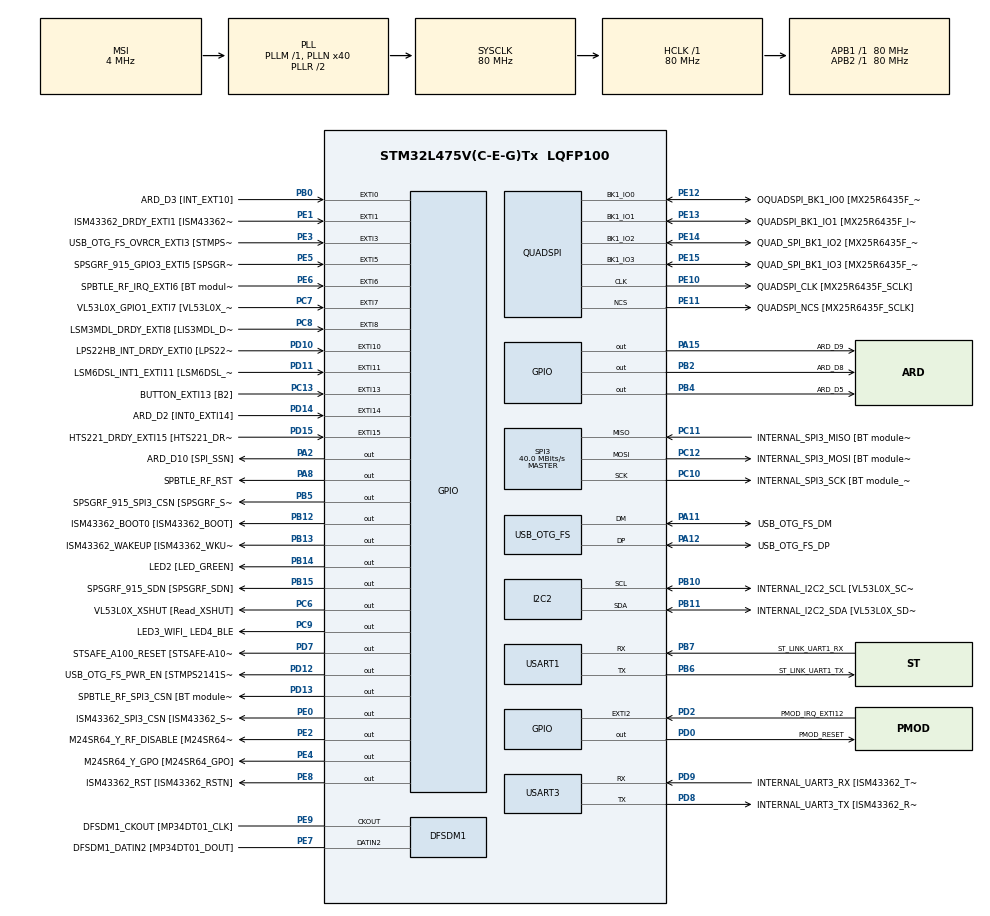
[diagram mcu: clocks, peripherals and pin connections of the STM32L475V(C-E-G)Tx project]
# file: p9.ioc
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FREERTOS.Tasks01=WifiTask,24,512,StartWifiTask,Default,NULL,Dynamic,NULL,NULL
FREERTOS.configTOTAL_HEAP_SIZE=5000
FREERTOS.configUSE_NEWLIB_REENTRANT=1
Mcu.Family=STM32L4
Mcu.Name=STM32L475V(C-E-G)Tx
Mcu.Package=LQFP100
NVIC.EXTI15_10_IRQn=true\:5\:0\:false\:false\:true\:true\:true\:true\:true
NVIC.EXTI1_IRQn=true\:5\:0\:true\:false\:true\:false\:true\:true\:true
NVIC.EXTI9_5_IRQn=true\:5\:0\:false\:false\:true\:true\:true\:true\:true
NVIC.PriorityGroup=NVIC_PRIORITYGROUP_4
NVIC.SPI3_IRQn=true\:5\:0\:true\:false\:false\:false\:true\:true\:true
NVIC.TIM6_DAC_IRQn=true\:15\:0\:false\:false\:true\:false\:false\:true\:true
NVIC.TimeBase=TIM6_DAC_IRQn
NVIC.TimeBaseIP=TIM6
PA0.GPIO_Label=ARD_D1 [UART4_TX]
PA0.Signal=UART4_TX
PA1.GPIO_Label=ARD_D0 [UART4_RX]
PA1.Signal=UART4_RX
PA10.GPIO_Label=USB_OTG_FS_ID
PA10.Signal=USB_OTG_FS_ID
PA11.GPIO_Label=USB_OTG_FS_DM
PA11.Mode=Device_Only
PA11.Signal=USB_OTG_FS_DM
PA12.GPIO_Label=USB_OTG_FS_DP
PA12.Mode=Device_Only
PA12.Signal=USB_OTG_FS_DP
PA13\ (JTMS-SWDIO).GPIO_Label=SYS_JTMS_SWDIO
PA13\ (JTMS-SWDIO).Mode=Trace_Asynchronous_SW
PA13\ (JTMS-SWDIO).Signal=SYS_JTMS-SWDIO
PA14\ (JTCK-SWCLK).GPIO_Label=SYS_JTCK_SWCLK
PA14\ (JTCK-SWCLK).Mode=Trace_Asynchronous_SW
PA14\ (JTCK-SWCLK).Signal=SYS_JTCK-SWCLK
PA15\ (JTDI).GPIO_Label=ARD_D9
PA15\ (JTDI).Signal=GPIO_Output
PA2.GPIO_Label=ARD_D10 [SPI_SSN]
PA2.Signal=GPIO_Output
PA3.GPIO_Label=ARD_D4
PA3.Signal=S_TIM2_CH4
PA4.GPIO_Label=ARD_D7
PA4.Signal=ADCx_IN9
PA5.GPIO_Label=ARD_D13 [SPI1_SCK]
PA5.Signal=SPI1_SCK
PA6.GPIO_Label=ARD_D12 [SPI1_MISO]
PA6.Signal=SPI1_MISO
PA7.GPIO_Label=ARD_D11 [SPI1_MOSI]
PA7.Signal=SPI1_MOSI
PA8.GPIO_Label=SPBTLE_RF_RST
PA8.Signal=GPIO_Output
PA9.GPIO_Label=USB_OTG_FS_VBUS [STMPS2141STR_OUT]
PA9.Signal=USB_OTG_FS_VBUS
PB0.GPIO_Label=ARD_D3 [INT_EXT10]
PB0.Signal=GPXTI0
PB1.GPIO_Label=ARD_D6 [ADC1_IN6]
PB1.Signal=ADCx_IN16
PB10.GPIO_Label=INTERNAL_I2C2_SCL [VL53L0X_SCL]
PB10.GPIO_Pu=GPIO_PULLUP
PB10.Mode=I2C
PB10.Signal=I2C2_SCL
PB11.GPIO_Label=INTERNAL_I2C2_SDA [VL53L0X_SDA]
PB11.GPIO_Pu=GPIO_PULLUP
PB11.Mode=I2C
PB11.Signal=I2C2_SDA
PB12.GPIO_Label=ISM43362_BOOT0 [ISM43362_BOOT]
PB12.Signal=GPIO_Output
PB13.GPIO_Label=ISM43362_WAKEUP [ISM43362_WKUP]
PB13.Signal=GPIO_Output
PB14.GPIO_Label=LED2 [LED_GREEN]
PB14.Signal=GPIO_Output
PB15.GPIO_Label=SPSGRF_915_SDN [SPSGRF_SDN]
PB15.Signal=GPIO_Output
PB2.GPIO_Label=ARD_D8
PB2.Signal=GPIO_Output
PB3\ (JTDO-TRACESWO).GPIO_Label=SYS_JTD0_SWO
PB3\ (JTDO-TRACESWO).Mode=Trace_Asynchronous_SW
PB3\ (JTDO-TRACESWO).Signal=SYS_JTDO-SWO
PB4\ (NJTRST).GPIO_Label=ARD_D5
PB4\ (NJTRST).Signal=GPIO_Output
PB5.GPIO_Label=SPSGRF_915_SPI3_CSN [SPSGRF_SPI_CS]
PB5.PinState=GPIO_PIN_SET
PB5.Signal=GPIO_Output
PB6.GPIO_Label=ST_LINK_UART1_TX
PB6.Mode=Asynchronous
PB6.Signal=USART1_TX
PB7.GPIO_Label=ST_LINK_UART1_RX
PB7.Mode=Asynchronous
PB7.Signal=USART1_RX
PB8.GPIO_Label=ARD_D15 [I2C1_SCL]
PB8.Signal=I2C1_SCL
PB9.GPIO_Label=ARD_D14 [I2C1_SDA]
PB9.Signal=I2C1_SDA
PC0.GPIO_Label=ARD_A5 [ADC]
PC0.Signal=ADCx_IN1
PC1.GPIO_Label=ARD_A4 [ADC]
PC1.Signal=ADCx_IN2
PC10.GPIO_Label=INTERNAL_SPI3_SCK [BT module_SPI_SCLK] [ISM43362_SCK]
PC10.Mode=Full_Duplex_Master
PC10.Signal=SPI3_SCK
PC11.GPIO_Label=INTERNAL_SPI3_MISO [BT module_SPI_MISO] [ISM43362_MISO]
PC11.Mode=Full_Duplex_Master
PC11.Signal=SPI3_MISO
PC12.GPIO_Label=INTERNAL_SPI3_MOSI [BT module_SPI_MOSI] [ISM43362_MOSI]
PC12.Mode=Full_Duplex_Master
PC12.Signal=SPI3_MOSI
PC13.GPIO_Label=BUTTON_EXTI13 [B2]
PC13.GPIO_ModeDefaultEXTI=GPIO_MODE_IT_FALLING
PC13.Signal=GPXTI13
PC14-OSC32_IN\ (PC14).Mode=LSE-External-Oscillator
PC14-OSC32_IN\ (PC14).Signal=RCC_OSC32_IN
PC15-OSC32_OUT\ (PC15).Mode=LSE-External-Oscillator
PC15-OSC32_OUT\ (PC15).Signal=RCC_OSC32_OUT
PC2.GPIO_Label=ARD_A3 [ADC]
PC2.Signal=ADCx_IN3
PC3.GPIO_Label=ARD_A2 [ADC]
PC3.Signal=ADCx_IN4
PC4.GPIO_Label=ARD_A1 [ADC]
PC4.Signal=ADCx_IN13
PC5.GPIO_Label=ARD_A0 [ADC]
PC5.Signal=ADCx_IN14
PC6.GPIO_Label=VL53L0X_XSHUT [Read_XSHUT]
PC6.Signal=GPIO_Output
PC7.GPIO_Label=VL53L0X_GPIO1_EXTI7 [VL53L0X_GPIO1]
PC7.Signal=GPXTI7
PC8.GPIO_Label=LSM3MDL_DRDY_EXTI8 [LIS3MDL_DRDY]
PC8.Signal=GPXTI8
PC9.GPIO_Label=LED3_WIFI_ LED4_BLE
PC9.Signal=GPIO_Output
PD0.GPIO_Label=PMOD_RESET
PD0.Signal=GPIO_Output
PD1.GPIO_Label=PMOD_SPI2_SCK
PD1.Signal=SPI2_SCK
PD10.GPIO_Label=LPS22HB_INT_DRDY_EXTI0 [LPS22HB_INT_DRDY] 
PD10.Signal=GPXTI10
PD11.GPIO_Label=LSM6DSL_INT1_EXTI11 [LSM6DSL_INT1]
PD11.Signal=GPXTI11
PD12.GPIO_Label=USB_OTG_FS_PWR_EN [STMPS2141STR_EN]
PD12.Signal=GPIO_Output
PD13.GPIO_Label=SPBTLE_RF_SPI3_CSN [BT module_SPI_CS]
PD13.PinState=GPIO_PIN_SET
PD13.Signal=GPIO_Output
PD14.GPIO_Label=ARD_D2 [INT0_EXTI14]
PD14.Signal=GPXTI14
PD15.GPIO_Label=HTS221_DRDY_EXTI15 [HTS221_DRDY]
PD15.Signal=GPXTI15
PD2.GPIO_Label=PMOD_IRQ_EXTI12
PD2.Signal=GPXTI2
PD3.GPIO_Label=PMOD_UART2_CTS
PD3.Signal=USART2_CTS
PD4.GPIO_Label=PMOD_UART2_RTS
PD4.Signal=USART2_RTS
PD5.GPIO_Label=PMOD_UART2_TX
PD5.Signal=USART2_TX
PD6.GPIO_Label=PMOD_UART2_RX
PD6.Signal=USART2_RX
PD7.GPIO_Label=STSAFE_A100_RESET [STSAFE-A100_RESET]
PD7.Signal=GPIO_Output
PD8.GPIO_Label=INTERNAL_UART3_TX [ISM43362_RX]
PD8.Mode=Asynchronous
PD8.Signal=USART3_TX
PD9.GPIO_Label=INTERNAL_UART3_RX [ISM43362_TX]
PD9.Mode=Asynchronous
PD9.Signal=USART3_RX
PE0.GPIO_Label=ISM43362_SPI3_CSN [ISM43362_SSN]
PE0.PinState=GPIO_PIN_SET
PE0.Signal=GPIO_Output
PE1.GPIO_Label=ISM43362_DRDY_EXTI1 [ISM43362_DATARDY]
PE1.Signal=GPXTI1
PE10.GPIO_Label=QUADSPI_CLK [MX25R6435F_SCLK]
PE10.Mode=Single Bank
PE10.Signal=QUADSPI_CLK
PE11.GPIO_Label=QUADSPI_NCS [MX25R6435F_SCLK]
PE11.Mode=Single Bank
PE11.Signal=QUADSPI_NCS
PE12.GPIO_Label=OQUADSPI_BK1_IO0 [MX25R6435F_IO0]
PE12.Mode=Single Bank
PE12.Signal=QUADSPI_BK1_IO0
PE13.GPIO_Label=QUADSPI_BK1_IO1 [MX25R6435F_IO1]
PE13.Mode=Single Bank
PE13.Signal=QUADSPI_BK1_IO1
PE14.GPIO_Label=QUAD_SPI_BK1_IO2 [MX25R6435F_IO2]
PE14.Mode=Single Bank
PE14.Signal=QUADSPI_BK1_IO2
PE15.GPIO_Label=QUAD_SPI_BK1_IO3 [MX25R6435F_IO3]
PE15.Mode=Single Bank
PE15.Signal=QUADSPI_BK1_IO3
PE2.GPIO_Label=M24SR64_Y_RF_DISABLE [M24SR64_RFDIS]
PE2.Signal=GPIO_Output
PE3.GPIO_Label=USB_OTG_FS_OVRCR_EXTI3 [STMPS2141STR_FAULT]
PE3.Signal=GPXTI3
PE4.GPIO_Label=M24SR64_Y_GPO [M24SR64_GPO]
PE4.Signal=GPIO_Output
PE5.GPIO_Label=SPSGRF_915_GPIO3_EXTI5 [SPSGRF_GPIO_3]
PE5.Signal=GPXTI5
PE6.GPIO_Label=SPBTLE_RF_IRQ_EXTI6 [BT module_SPI_IRQ]
PE6.Signal=GPXTI6
PE7.GPIO_Label=DFSDM1_DATIN2 [MP34DT01_DOUT]
PE7.Signal=S_DATAIN2DFSDM1
PE8.GPIO_Label=ISM43362_RST [ISM43362_RSTN]
PE8.Signal=GPIO_Output
PE9.GPIO_Label=DFSDM1_CKOUT [MP34DT01_CLK]
PE9.Signal=S_CKOUTDFSDM1
ProjectManager.HeapSize=0x200
ProjectManager.StackSize=0x400
ProjectManager.TargetToolchain=STM32CubeIDE
QUADSPI.ClockPrescaler=2
QUADSPI.FifoThreshold=4
QUADSPI.FlashSize=23
QUADSPI.SampleShifting=QSPI_SAMPLE_SHIFTING_HALFCYCLE
RCC.ADCFreq_Value=48000000
RCC.AHBFreq_Value=80000000
RCC.APB1Freq_Value=80000000
RCC.APB1TimFreq_Value=80000000
RCC.APB2Freq_Value=80000000
RCC.APB2TimFreq_Value=80000000
RCC.CortexFreq_Value=80000000
RCC.HCLKFreq_Value=80000000
RCC.HSE_VALUE=8000000
RCC.HSI_VALUE=16000000
RCC.MSI_VALUE=4000000
RCC.PLLN=40
RCC.PLLSAI1N=24
RCC.SYSCLKFreq_VALUE=80000000
RCC.SYSCLKSource=RCC_SYSCLKSOURCE_PLLCLK
RCC.USBFreq_Value=48000000
RCC.VCOOutputFreq_Value=160000000
SH.ADCx_IN1.0=ADC1_IN1
SH.ADCx_IN13.0=ADC1_IN13
SH.ADCx_IN14.0=ADC1_IN14
SH.ADCx_IN16.0=ADC1_IN16
SH.ADCx_IN2.0=ADC1_IN2
SH.ADCx_IN3.0=ADC1_IN3
SH.ADCx_IN4.0=ADC1_IN4
SH.ADCx_IN9.0=ADC1_IN9
SH.S_CKOUTDFSDM1.0=DFSDM1_CKOUT,CKOUT
SH.S_CKOUTDFSDM1.1=DFSDM1_CKOUT,PDM_SPI_Input_from_ch12_and_Internal_Clock
SH.S_DATAIN2DFSDM1.0=DFSDM1_DATIN2,PDM_SPI_Input_from_ch12_and_Internal_Clock
SH.S_TIM2_CH4.0=TIM2_CH4
SPI3.CalculateBaudRate=40.0 MBits/s
SPI3.Direction=SPI_DIRECTION_2LINES
SPI3.Mode=SPI_MODE_MASTER
SPI3.VirtualType=VM_MASTER
USART1.VirtualMode-Asynchronous=VM_ASYNC
USART3.VirtualMode-Asynchronous=VM_ASYNC
USB_OTG_FS.VirtualMode=Device_Only
VP_FREERTOS_VS_CMSIS_V2.Mode=CMSIS_V2
VP_SYS_VS_tim6.Mode=TIM6
board=B-L475E-IOT01A1

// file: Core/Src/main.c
/* USER CODE BEGIN Header */
/**
  ******************************************************************************
  * @file           : main.c
  * @brief          : Main program body
  ******************************************************************************
  * @attention
  *
  * Copyright (c) 2026 STMicroelectronics.
  * All rights reserved.
  *
  * This software is licensed under terms that can be found in the LICENSE file
  * in the root directory of this software component.
  * If no LICENSE file comes with this software, it is provided AS-IS.
  *
  ******************************************************************************
  */
/* USER CODE END Header */
#include "main.h"
#include "cmsis_os.h"

/* USER CODE BEGIN Includes */
#include "es_wifi.h"
#include "wifi.h"
#include "stm32l4xx_hal_uart.h"
#include "stdio.h"
//#include "stm32l475e_iot01.h"
//#include "stm32l475e_iot01_tsensor.h"

/* USER CODE END Includes */

DFSDM_Channel_HandleTypeDef hdfsdm1_channel1;

I2C_HandleTypeDef hi2c2;

QSPI_HandleTypeDef hqspi;

SPI_HandleTypeDef hspi3;

UART_HandleTypeDef huart1;
UART_HandleTypeDef huart3;

PCD_HandleTypeDef hpcd_USB_OTG_FS;

/* Definitions for WifiTask */
osThreadId_t WifiTaskHandle;
const osThreadAttr_t WifiTask_attributes = {
  .name = "WifiTask",
  .stack_size = 512 * 4,
  .priority = (osPriority_t) osPriorityNormal,
};
/* USER CODE BEGIN PV */

#define SSID     "Manolo"
#define PASSWORD ""
#define WIFISECURITY WIFI_ECN_OPEN

#define PORT 	80
#define WIFI_WRITE_TIMEOUT 10000
#define WIFI_READ_TIMEOUT 10000
#define SOCKET 	0
#define LOG(a) printf a

/*#define TERMINAL_USE
#ifdef  TERMINAL_USE
#else
#define LOG(a)
#endif*/

/* USER CODE END PV */

void SystemClock_Config(void);
static void MX_GPIO_Init(void);
static void MX_DFSDM1_Init(void);
static void MX_I2C2_Init(void);
static void MX_QUADSPI_Init(void);
static void MX_SPI3_Init(void);
static void MX_USART1_UART_Init(void);
static void MX_USART3_UART_Init(void);
static void MX_USB_OTG_FS_PCD_Init(void);
void StartWifiTask(void *argument);

/* USER CODE BEGIN PFP */
extern  SPI_HandleTypeDef hspi;
static  uint8_t  IP_Addr[4];
#if defined (TERMINAL_USE)
extern UART_HandleTypeDef hDiscoUart;
#endif /* TERMINAL_USE */

static  uint8_t http[1024];
static  uint8_t  IP_Addr[4];
static  int     LedState = 0;
extern ES_WIFIObject_t    EsWifiObj;

/* USER CODE END PFP */

/* USER CODE BEGIN 0 */

static int wifi_start(void)
{
  uint8_t  MAC_Addr[6];

 /*Initialize and use WIFI module */
  if(WIFI_Init() ==  WIFI_STATUS_OK)
  {
    LOG(("ES-WIFI Initialized.\r\n"));
    if(WIFI_GetMAC_Address(MAC_Addr) == WIFI_STATUS_OK)
    {
      LOG(("> eS-WiFi module MAC Address : %02X:%02X:%02X:%02X:%02X:%02X\r\n",
               MAC_Addr[0],
               MAC_Addr[1],
               MAC_Addr[2],
               MAC_Addr[3],
               MAC_Addr[4],
               MAC_Addr[5]));
    }
    else
    {
      LOG(("> ERROR : CANNOT get MAC address\r\n"));
      return -1;
    }
  }
  else
  {
    return -1;
  }
  return 0;
}

int wifi_connect(void)
{

  wifi_start();

  LOG(("\nConnecting to %s, %s\r\n",SSID,PASSWORD));
  if( WIFI_Connect(SSID, PASSWORD, WIFISECURITY) == WIFI_STATUS_OK)
  {
    if(WIFI_GetIP_Address(IP_Addr) == WIFI_STATUS_OK)
    {
      LOG(("> es-wifi module connected: got IP Address : %d.%d.%d.%d\r\n",
               IP_Addr[0],
               IP_Addr[1],
               IP_Addr[2],
               IP_Addr[3]));
    }
    else
    {
		  LOG((" ERROR : es-wifi module CANNOT get IP address\r\n"));
      return -1;
    }
  }
  else
  {
		 LOG(("ERROR : es-wifi module NOT connected\r\n"));
     return -1;
  }
  return 0;
}
/* USER CODE END 0 */

int main(void)
{

  /* MCU Configuration--------------------------------------------------------*/

  /* Reset of all peripherals, Initializes the Flash interface and the Systick. */
  HAL_Init();

  /* Configure the system clock */
  SystemClock_Config();

  /* Initialize all configured peripherals */
  MX_GPIO_Init();
  MX_DFSDM1_Init();
  MX_I2C2_Init();
  MX_QUADSPI_Init();
  MX_SPI3_Init();
  MX_USART1_UART_Init();
  MX_USART3_UART_Init();
  MX_USB_OTG_FS_PCD_Init();

  /* Init scheduler */
  osKernelInitialize();

  /* Create the thread(s) */
  /* creation of WifiTask */
  WifiTaskHandle = osThreadNew(StartWifiTask, NULL, &WifiTask_attributes);

  /* Start scheduler */
  osKernelStart();

  /* We should never get here as control is now taken by the scheduler */

  /* Infinite loop */
  while (1)
  {

  }
}

void SystemClock_Config(void)
{
  RCC_OscInitTypeDef RCC_OscInitStruct = {0};
  RCC_ClkInitTypeDef RCC_ClkInitStruct = {0};

  /** Configure the main internal regulator output voltage
  */
  if (HAL_PWREx_ControlVoltageScaling(PWR_REGULATOR_VOLTAGE_SCALE1) != HAL_OK)
  {
    Error_Handler();
  }

  /** Configure LSE Drive Capability
  */
  HAL_PWR_EnableBkUpAccess();
  __HAL_RCC_LSEDRIVE_CONFIG(RCC_LSEDRIVE_LOW);

  /** Initializes the RCC Oscillators according to the specified parameters
  * in the RCC_OscInitTypeDef structure.
  */
  RCC_OscInitStruct.OscillatorType = RCC_OSCILLATORTYPE_LSE|RCC_OSCILLATORTYPE_MSI;
  RCC_OscInitStruct.LSEState = RCC_LSE_ON;
  RCC_OscInitStruct.MSIState = RCC_MSI_ON;
  RCC_OscInitStruct.MSICalibrationValue = 0;
  RCC_OscInitStruct.MSIClockRange = RCC_MSIRANGE_6;
  RCC_OscInitStruct.PLL.PLLState = RCC_PLL_ON;
  RCC_OscInitStruct.PLL.PLLSource = RCC_PLLSOURCE_MSI;
  RCC_OscInitStruct.PLL.PLLM = 1;
  RCC_OscInitStruct.PLL.PLLN = 40;
  RCC_OscInitStruct.PLL.PLLP = RCC_PLLP_DIV7;
  RCC_OscInitStruct.PLL.PLLQ = RCC_PLLQ_DIV2;
  RCC_OscInitStruct.PLL.PLLR = RCC_PLLR_DIV2;
  if (HAL_RCC_OscConfig(&RCC_OscInitStruct) != HAL_OK)
  {
    Error_Handler();
  }

  /** Initializes the CPU, AHB and APB buses clocks
  */
  RCC_ClkInitStruct.ClockType = RCC_CLOCKTYPE_HCLK|RCC_CLOCKTYPE_SYSCLK
                              |RCC_CLOCKTYPE_PCLK1|RCC_CLOCKTYPE_PCLK2;
  RCC_ClkInitStruct.SYSCLKSource = RCC_SYSCLKSOURCE_PLLCLK;
  RCC_ClkInitStruct.AHBCLKDivider = RCC_SYSCLK_DIV1;
  RCC_ClkInitStruct.APB1CLKDivider = RCC_HCLK_DIV1;
  RCC_ClkInitStruct.APB2CLKDivider = RCC_HCLK_DIV1;

  if (HAL_RCC_ClockConfig(&RCC_ClkInitStruct, FLASH_LATENCY_4) != HAL_OK)
  {
    Error_Handler();
  }

  /** Enable MSI Auto calibration
  */
  HAL_RCCEx_EnableMSIPLLMode();
}

static void MX_DFSDM1_Init(void)
{

  hdfsdm1_channel1.Instance = DFSDM1_Channel1;
  hdfsdm1_channel1.Init.OutputClock.Activation = ENABLE;
  hdfsdm1_channel1.Init.OutputClock.Selection = DFSDM_CHANNEL_OUTPUT_CLOCK_SYSTEM;
  hdfsdm1_channel1.Init.OutputClock.Divider = 2;
  hdfsdm1_channel1.Init.Input.Multiplexer = DFSDM_CHANNEL_EXTERNAL_INPUTS;
  hdfsdm1_channel1.Init.Input.DataPacking = DFSDM_CHANNEL_STANDARD_MODE;
  hdfsdm1_channel1.Init.Input.Pins = DFSDM_CHANNEL_FOLLOWING_CHANNEL_PINS;
  hdfsdm1_channel1.Init.SerialInterface.Type = DFSDM_CHANNEL_SPI_RISING;
  hdfsdm1_channel1.Init.SerialInterface.SpiClock = DFSDM_CHANNEL_SPI_CLOCK_INTERNAL;
  hdfsdm1_channel1.Init.Awd.FilterOrder = DFSDM_CHANNEL_FASTSINC_ORDER;
  hdfsdm1_channel1.Init.Awd.Oversampling = 1;
  hdfsdm1_channel1.Init.Offset = 0;
  hdfsdm1_channel1.Init.RightBitShift = 0x00;
  if (HAL_DFSDM_ChannelInit(&hdfsdm1_channel1) != HAL_OK)
  {
    Error_Handler();
  }

}

static void MX_I2C2_Init(void)
{

  hi2c2.Instance = I2C2;
  hi2c2.Init.Timing = 0x00000E14;
  hi2c2.Init.OwnAddress1 = 0;
  hi2c2.Init.AddressingMode = I2C_ADDRESSINGMODE_7BIT;
  hi2c2.Init.DualAddressMode = I2C_DUALADDRESS_DISABLE;
  hi2c2.Init.OwnAddress2 = 0;
  hi2c2.Init.OwnAddress2Masks = I2C_OA2_NOMASK;
  hi2c2.Init.GeneralCallMode = I2C_GENERALCALL_DISABLE;
  hi2c2.Init.NoStretchMode = I2C_NOSTRETCH_DISABLE;
  if (HAL_I2C_Init(&hi2c2) != HAL_OK)
  {
    Error_Handler();
  }

  /** Configure Analogue filter
  */
  if (HAL_I2CEx_ConfigAnalogFilter(&hi2c2, I2C_ANALOGFILTER_ENABLE) != HAL_OK)
  {
    Error_Handler();
  }

  /** Configure Digital filter
  */
  if (HAL_I2CEx_ConfigDigitalFilter(&hi2c2, 0) != HAL_OK)
  {
    Error_Handler();
  }

}

static void MX_QUADSPI_Init(void)
{

  /* QUADSPI parameter configuration*/
  hqspi.Instance = QUADSPI;
  hqspi.Init.ClockPrescaler = 2;
  hqspi.Init.FifoThreshold = 4;
  hqspi.Init.SampleShifting = QSPI_SAMPLE_SHIFTING_HALFCYCLE;
  hqspi.Init.FlashSize = 23;
  hqspi.Init.ChipSelectHighTime = QSPI_CS_HIGH_TIME_1_CYCLE;
  hqspi.Init.ClockMode = QSPI_CLOCK_MODE_0;
  if (HAL_QSPI_Init(&hqspi) != HAL_OK)
  {
    Error_Handler();
  }

}

static void MX_SPI3_Init(void)
{

  /* SPI3 parameter configuration*/
  hspi3.Instance = SPI3;
  hspi3.Init.Mode = SPI_MODE_MASTER;
  hspi3.Init.Direction = SPI_DIRECTION_2LINES;
  hspi3.Init.DataSize = SPI_DATASIZE_4BIT;
  hspi3.Init.CLKPolarity = SPI_POLARITY_LOW;
  hspi3.Init.CLKPhase = SPI_PHASE_1EDGE;
  hspi3.Init.NSS = SPI_NSS_SOFT;
  hspi3.Init.BaudRatePrescaler = SPI_BAUDRATEPRESCALER_2;
  hspi3.Init.FirstBit = SPI_FIRSTBIT_MSB;
  hspi3.Init.TIMode = SPI_TIMODE_DISABLE;
  hspi3.Init.CRCCalculation = SPI_CRCCALCULATION_DISABLE;
  hspi3.Init.CRCPolynomial = 7;
  hspi3.Init.CRCLength = SPI_CRC_LENGTH_DATASIZE;
  hspi3.Init.NSSPMode = SPI_NSS_PULSE_ENABLE;
  if (HAL_SPI_Init(&hspi3) != HAL_OK)
  {
    Error_Handler();
  }

}

static void MX_USART1_UART_Init(void)
{

  huart1.Instance = USART1;
  huart1.Init.BaudRate = 115200;
  huart1.Init.WordLength = UART_WORDLENGTH_8B;
  huart1.Init.StopBits = UART_STOPBITS_1;
  huart1.Init.Parity = UART_PARITY_NONE;
  huart1.Init.Mode = UART_MODE_TX_RX;
  huart1.Init.HwFlowCtl = UART_HWCONTROL_NONE;
  huart1.Init.OverSampling = UART_OVERSAMPLING_16;
  huart1.Init.OneBitSampling = UART_ONE_BIT_SAMPLE_DISABLE;
  huart1.AdvancedInit.AdvFeatureInit = UART_ADVFEATURE_NO_INIT;
  if (HAL_UART_Init(&huart1) != HAL_OK)
  {
    Error_Handler();
  }

}

static void MX_USART3_UART_Init(void)
{

  huart3.Instance = USART3;
  huart3.Init.BaudRate = 115200;
  huart3.Init.WordLength = UART_WORDLENGTH_8B;
  huart3.Init.StopBits = UART_STOPBITS_1;
  huart3.Init.Parity = UART_PARITY_NONE;
  huart3.Init.Mode = UART_MODE_TX_RX;
  huart3.Init.HwFlowCtl = UART_HWCONTROL_NONE;
  huart3.Init.OverSampling = UART_OVERSAMPLING_16;
  huart3.Init.OneBitSampling = UART_ONE_BIT_SAMPLE_DISABLE;
  huart3.AdvancedInit.AdvFeatureInit = UART_ADVFEATURE_NO_INIT;
  if (HAL_UART_Init(&huart3) != HAL_OK)
  {
    Error_Handler();
  }

}

static void MX_USB_OTG_FS_PCD_Init(void)
{

  hpcd_USB_OTG_FS.Instance = USB_OTG_FS;
  hpcd_USB_OTG_FS.Init.dev_endpoints = 6;
  hpcd_USB_OTG_FS.Init.speed = PCD_SPEED_FULL;
  hpcd_USB_OTG_FS.Init.phy_itface = PCD_PHY_EMBEDDED;
  hpcd_USB_OTG_FS.Init.Sof_enable = DISABLE;
  hpcd_USB_OTG_FS.Init.low_power_enable = DISABLE;
  hpcd_USB_OTG_FS.Init.lpm_enable = DISABLE;
  hpcd_USB_OTG_FS.Init.battery_charging_enable = DISABLE;
  hpcd_USB_OTG_FS.Init.use_dedicated_ep1 = DISABLE;
  hpcd_USB_OTG_FS.Init.vbus_sensing_enable = DISABLE;
  if (HAL_PCD_Init(&hpcd_USB_OTG_FS) != HAL_OK)
  {
    Error_Handler();
  }

}

static void MX_GPIO_Init(void)
{
  GPIO_InitTypeDef GPIO_InitStruct = {0};

  /* GPIO Ports Clock Enable */
  __HAL_RCC_GPIOE_CLK_ENABLE();
  __HAL_RCC_GPIOC_CLK_ENABLE();
  __HAL_RCC_GPIOA_CLK_ENABLE();
  __HAL_RCC_GPIOB_CLK_ENABLE();
  __HAL_RCC_GPIOD_CLK_ENABLE();

  /*Configure GPIO pin Output Level */
  HAL_GPIO_WritePin(GPIOE, M24SR64_Y_RF_DISABLE_Pin|M24SR64_Y_GPO_Pin|ISM43362_RST_Pin, GPIO_PIN_RESET);

  /*Configure GPIO pin Output Level */
  HAL_GPIO_WritePin(GPIOA, ARD_D10_Pin|SPBTLE_RF_RST_Pin|ARD_D9_Pin, GPIO_PIN_RESET);

  /*Configure GPIO pin Output Level */
  HAL_GPIO_WritePin(GPIOB, ARD_D8_Pin|ISM43362_BOOT0_Pin|ISM43362_WAKEUP_Pin|LED2_Pin
                          |SPSGRF_915_SDN_Pin|ARD_D5_Pin, GPIO_PIN_RESET);

  /*Configure GPIO pin Output Level */
  HAL_GPIO_WritePin(GPIOD, USB_OTG_FS_PWR_EN_Pin|PMOD_RESET_Pin|STSAFE_A100_RESET_Pin, GPIO_PIN_RESET);

  /*Configure GPIO pin Output Level */
  HAL_GPIO_WritePin(SPBTLE_RF_SPI3_CSN_GPIO_Port, SPBTLE_RF_SPI3_CSN_Pin, GPIO_PIN_SET);

  /*Configure GPIO pin Output Level */
  HAL_GPIO_WritePin(GPIOC, VL53L0X_XSHUT_Pin|LED3_WIFI__LED4_BLE_Pin, GPIO_PIN_RESET);

  /*Configure GPIO pin Output Level */
  HAL_GPIO_WritePin(SPSGRF_915_SPI3_CSN_GPIO_Port, SPSGRF_915_SPI3_CSN_Pin, GPIO_PIN_SET);

  /*Configure GPIO pin Output Level */
  HAL_GPIO_WritePin(ISM43362_SPI3_CSN_GPIO_Port, ISM43362_SPI3_CSN_Pin, GPIO_PIN_SET);

  /*Configure GPIO pins : M24SR64_Y_RF_DISABLE_Pin M24SR64_Y_GPO_Pin ISM43362_RST_Pin ISM43362_SPI3_CSN_Pin */
  GPIO_InitStruct.Pin = M24SR64_Y_RF_DISABLE_Pin|M24SR64_Y_GPO_Pin|ISM43362_RST_Pin|ISM43362_SPI3_CSN_Pin;
  GPIO_InitStruct.Mode = GPIO_MODE_OUTPUT_PP;
  GPIO_InitStruct.Pull = GPIO_NOPULL;
  GPIO_InitStruct.Speed = GPIO_SPEED_FREQ_LOW;
  HAL_GPIO_Init(GPIOE, &GPIO_InitStruct);

  /*Configure GPIO pins : USB_OTG_FS_OVRCR_EXTI3_Pin SPSGRF_915_GPIO3_EXTI5_Pin SPBTLE_RF_IRQ_EXTI6_Pin ISM43362_DRDY_EXTI1_Pin */
  GPIO_InitStruct.Pin = USB_OTG_FS_OVRCR_EXTI3_Pin|SPSGRF_915_GPIO3_EXTI5_Pin|SPBTLE_RF_IRQ_EXTI6_Pin|ISM43362_DRDY_EXTI1_Pin;
  GPIO_InitStruct.Mode = GPIO_MODE_IT_RISING;
  GPIO_InitStruct.Pull = GPIO_NOPULL;
  HAL_GPIO_Init(GPIOE, &GPIO_InitStruct);

  /*Configure GPIO pin : BUTTON_EXTI13_Pin */
  GPIO_InitStruct.Pin = BUTTON_EXTI13_Pin;
  GPIO_InitStruct.Mode = GPIO_MODE_IT_FALLING;
  GPIO_InitStruct.Pull = GPIO_NOPULL;
  HAL_GPIO_Init(BUTTON_EXTI13_GPIO_Port, &GPIO_InitStruct);

  /*Configure GPIO pins : ARD_A5_Pin ARD_A4_Pin ARD_A3_Pin ARD_A2_Pin
                           ARD_A1_Pin ARD_A0_Pin */
  GPIO_InitStruct.Pin = ARD_A5_Pin|ARD_A4_Pin|ARD_A3_Pin|ARD_A2_Pin
                          |ARD_A1_Pin|ARD_A0_Pin;
  GPIO_InitStruct.Mode = GPIO_MODE_ANALOG_ADC_CONTROL;
  GPIO_InitStruct.Pull = GPIO_NOPULL;
  HAL_GPIO_Init(GPIOC, &GPIO_InitStruct);

  /*Configure GPIO pins : ARD_D1_Pin ARD_D0_Pin */
  GPIO_InitStruct.Pin = ARD_D1_Pin|ARD_D0_Pin;
  GPIO_InitStruct.Mode = GPIO_MODE_AF_PP;
  GPIO_InitStruct.Pull = GPIO_NOPULL;
  GPIO_InitStruct.Speed = GPIO_SPEED_FREQ_VERY_HIGH;
  GPIO_InitStruct.Alternate = GPIO_AF8_UART4;
  HAL_GPIO_Init(GPIOA, &GPIO_InitStruct);

  /*Configure GPIO pins : ARD_D10_Pin SPBTLE_RF_RST_Pin ARD_D9_Pin */
  GPIO_InitStruct.Pin = ARD_D10_Pin|SPBTLE_RF_RST_Pin|ARD_D9_Pin;
  GPIO_InitStruct.Mode = GPIO_MODE_OUTPUT_PP;
  GPIO_InitStruct.Pull = GPIO_NOPULL;
  GPIO_InitStruct.Speed = GPIO_SPEED_FREQ_LOW;
  HAL_GPIO_Init(GPIOA, &GPIO_InitStruct);

  /*Configure GPIO pin : ARD_D4_Pin */
  GPIO_InitStruct.Pin = ARD_D4_Pin;
  GPIO_InitStruct.Mode = GPIO_MODE_AF_PP;
  GPIO_InitStruct.Pull = GPIO_NOPULL;
  GPIO_InitStruct.Speed = GPIO_SPEED_FREQ_LOW;
  GPIO_InitStruct.Alternate = GPIO_AF1_TIM2;
  HAL_GPIO_Init(ARD_D4_GPIO_Port, &GPIO_InitStruct);

  /*Configure GPIO pin : ARD_D7_Pin */
  GPIO_InitStruct.Pin = ARD_D7_Pin;
  GPIO_InitStruct.Mode = GPIO_MODE_ANALOG_ADC_CONTROL;
  GPIO_InitStruct.Pull = GPIO_NOPULL;
  HAL_GPIO_Init(ARD_D7_GPIO_Port, &GPIO_InitStruct);

  /*Configure GPIO pins : ARD_D13_Pin ARD_D12_Pin ARD_D11_Pin */
  GPIO_InitStruct.Pin = ARD_D13_Pin|ARD_D12_Pin|ARD_D11_Pin;
  GPIO_InitStruct.Mode = GPIO_MODE_AF_PP;
  GPIO_InitStruct.Pull = GPIO_NOPULL;
  GPIO_InitStruct.Speed = GPIO_SPEED_FREQ_VERY_HIGH;
  GPIO_InitStruct.Alternate = GPIO_AF5_SPI1;
  HAL_GPIO_Init(GPIOA, &GPIO_InitStruct);

  /*Configure GPIO pin : ARD_D3_Pin */
  GPIO_InitStruct.Pin = ARD_D3_Pin;
  GPIO_InitStruct.Mode = GPIO_MODE_IT_RISING;
  GPIO_InitStruct.Pull = GPIO_NOPULL;
  HAL_GPIO_Init(ARD_D3_GPIO_Port, &GPIO_InitStruct);

  /*Configure GPIO pin : ARD_D6_Pin */
  GPIO_InitStruct.Pin = ARD_D6_Pin;
  GPIO_InitStruct.Mode = GPIO_MODE_ANALOG_ADC_CONTROL;
  GPIO_InitStruct.Pull = GPIO_NOPULL;
  HAL_GPIO_Init(ARD_D6_GPIO_Port, &GPIO_InitStruct);

  /*Configure GPIO pins : ARD_D8_Pin ISM43362_BOOT0_Pin ISM43362_WAKEUP_Pin LED2_Pin
                           SPSGRF_915_SDN_Pin ARD_D5_Pin SPSGRF_915_SPI3_CSN_Pin */
  GPIO_InitStruct.Pin = ARD_D8_Pin|ISM43362_BOOT0_Pin|ISM43362_WAKEUP_Pin|LED2_Pin
                          |SPSGRF_915_SDN_Pin|ARD_D5_Pin|SPSGRF_915_SPI3_CSN_Pin;
  GPIO_InitStruct.Mode = GPIO_MODE_OUTPUT_PP;
  GPIO_InitStruct.Pull = GPIO_NOPULL;
  GPIO_InitStruct.Speed = GPIO_SPEED_FREQ_LOW;
  HAL_GPIO_Init(GPIOB, &GPIO_InitStruct);

  /*Configure GPIO pins : LPS22HB_INT_DRDY_EXTI0_Pin LSM6DSL_INT1_EXTI11_Pin ARD_D2_Pin HTS221_DRDY_EXTI15_Pin
                           PMOD_IRQ_EXTI12_Pin */
  GPIO_InitStruct.Pin = LPS22HB_INT_DRDY_EXTI0_Pin|LSM6DSL_INT1_EXTI11_Pin|ARD_D2_Pin|HTS221_DRDY_EXTI15_Pin
                          |PMOD_IRQ_EXTI12_Pin;
  GPIO_InitStruct.Mode = GPIO_MODE_IT_RISING;
  GPIO_InitStruct.Pull = GPIO_NOPULL;
  HAL_GPIO_Init(GPIOD, &GPIO_InitStruct);

  /*Configure GPIO pins : USB_OTG_FS_PWR_EN_Pin SPBTLE_RF_SPI3_CSN_Pin PMOD_RESET_Pin STSAFE_A100_RESET_Pin */
  GPIO_InitStruct.Pin = USB_OTG_FS_PWR_EN_Pin|SPBTLE_RF_SPI3_CSN_Pin|PMOD_RESET_Pin|STSAFE_A100_RESET_Pin;
  GPIO_InitStruct.Mode = GPIO_MODE_OUTPUT_PP;
  GPIO_InitStruct.Pull = GPIO_NOPULL;
  GPIO_InitStruct.Speed = GPIO_SPEED_FREQ_LOW;
  HAL_GPIO_Init(GPIOD, &GPIO_InitStruct);

  /*Configure GPIO pins : VL53L0X_XSHUT_Pin LED3_WIFI__LED4_BLE_Pin */
  GPIO_InitStruct.Pin = VL53L0X_XSHUT_Pin|LED3_WIFI__LED4_BLE_Pin;
  GPIO_InitStruct.Mode = GPIO_MODE_OUTPUT_PP;
  GPIO_InitStruct.Pull = GPIO_NOPULL;
  GPIO_InitStruct.Speed = GPIO_SPEED_FREQ_LOW;
  HAL_GPIO_Init(GPIOC, &GPIO_InitStruct);

  /*Configure GPIO pins : VL53L0X_GPIO1_EXTI7_Pin LSM3MDL_DRDY_EXTI8_Pin */
  GPIO_InitStruct.Pin = VL53L0X_GPIO1_EXTI7_Pin|LSM3MDL_DRDY_EXTI8_Pin;
  GPIO_InitStruct.Mode = GPIO_MODE_IT_RISING;
  GPIO_InitStruct.Pull = GPIO_NOPULL;
  HAL_GPIO_Init(GPIOC, &GPIO_InitStruct);

  /*Configure GPIO pin : PMOD_SPI2_SCK_Pin */
  GPIO_InitStruct.Pin = PMOD_SPI2_SCK_Pin;
  GPIO_InitStruct.Mode = GPIO_MODE_AF_PP;
  GPIO_InitStruct.Pull = GPIO_NOPULL;
  GPIO_InitStruct.Speed = GPIO_SPEED_FREQ_VERY_HIGH;
  GPIO_InitStruct.Alternate = GPIO_AF5_SPI2;
  HAL_GPIO_Init(PMOD_SPI2_SCK_GPIO_Port, &GPIO_InitStruct);

  /*Configure GPIO pins : PMOD_UART2_CTS_Pin PMOD_UART2_RTS_Pin PMOD_UART2_TX_Pin PMOD_UART2_RX_Pin */
  GPIO_InitStruct.Pin = PMOD_UART2_CTS_Pin|PMOD_UART2_RTS_Pin|PMOD_UART2_TX_Pin|PMOD_UART2_RX_Pin;
  GPIO_InitStruct.Mode = GPIO_MODE_AF_PP;
  GPIO_InitStruct.Pull = GPIO_NOPULL;
  GPIO_InitStruct.Speed = GPIO_SPEED_FREQ_VERY_HIGH;
  GPIO_InitStruct.Alternate = GPIO_AF7_USART2;
  HAL_GPIO_Init(GPIOD, &GPIO_InitStruct);

  /*Configure GPIO pins : ARD_D15_Pin ARD_D14_Pin */
  GPIO_InitStruct.Pin = ARD_D15_Pin|ARD_D14_Pin;
  GPIO_InitStruct.Mode = GPIO_MODE_AF_OD;
  GPIO_InitStruct.Pull = GPIO_NOPULL;
  GPIO_InitStruct.Speed = GPIO_SPEED_FREQ_VERY_HIGH;
  GPIO_InitStruct.Alternate = GPIO_AF4_I2C1;
  HAL_GPIO_Init(GPIOB, &GPIO_InitStruct);

  /* EXTI interrupt init*/
  HAL_NVIC_SetPriority(EXTI1_IRQn, 5, 0);
  HAL_NVIC_EnableIRQ(EXTI1_IRQn);

  HAL_NVIC_SetPriority(EXTI9_5_IRQn, 5, 0);
  HAL_NVIC_EnableIRQ(EXTI9_5_IRQn);

  HAL_NVIC_SetPriority(EXTI15_10_IRQn, 5, 0);
  HAL_NVIC_EnableIRQ(EXTI15_10_IRQn);

}

/* USER CODE BEGIN 4 */

int _write(int file, char *ptr, int len)
{
	int DataIdx;
	for(DataIdx=0; DataIdx<len; DataIdx++)
	{
		ITM_SendChar(*ptr++);
	}
	return len;
}

void SPI3_IRQHandler(void)
{
  HAL_SPI_IRQHandler(&hspi);
}

void HAL_GPIO_EXTI_Callback(uint16_t GPIO_Pin)
{
  switch (GPIO_Pin)
  {
    case (GPIO_PIN_1):
    {
      SPI_WIFI_ISR();
      break;
    }
    default:
    {
      break;
    }
  }
}

/* USER CODE END 4 */

void StartWifiTask(void *argument)
{
  /* USER CODE BEGIN 5 */
  wifi_connect();

	/* Infinite loop */
  for(;;)
  {
	osDelay(1);
  }
  /* USER CODE END 5 */
}

void HAL_TIM_PeriodElapsedCallback(TIM_HandleTypeDef *htim)
{
  if (htim->Instance == TIM6)
  {
    HAL_IncTick();
  }
}

void Error_Handler(void)
{
  __disable_irq();
  while (1)
  {
  }
}
